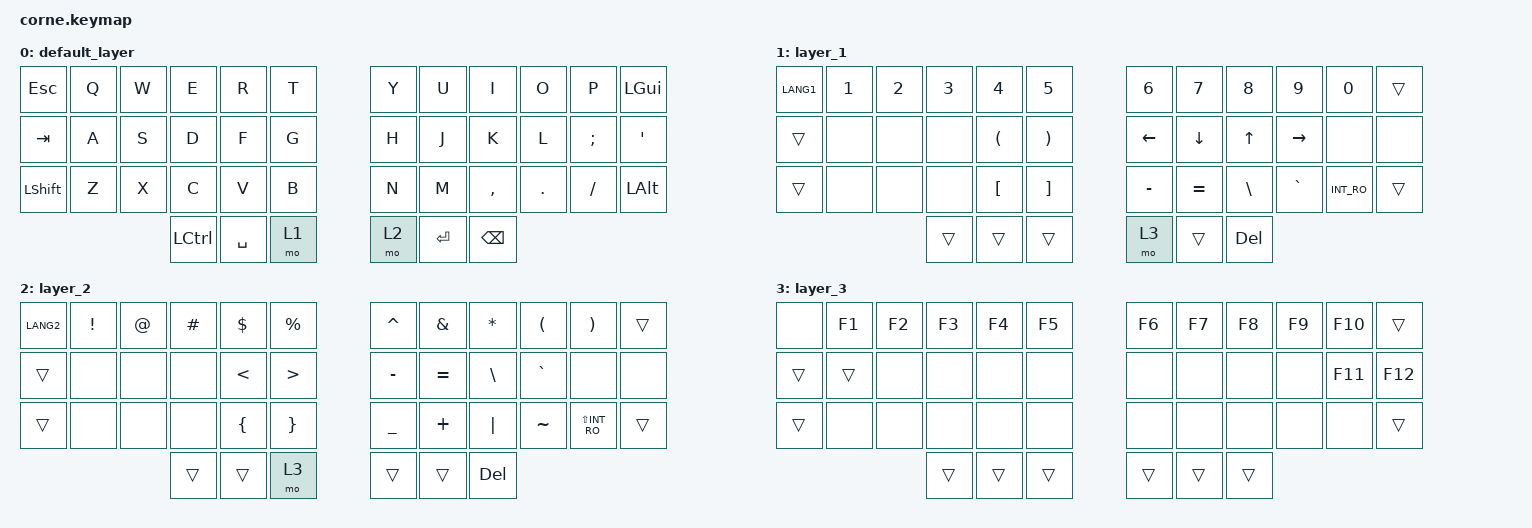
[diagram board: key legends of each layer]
/*
 * Copyright (c) 2020 The ZMK Contributors
 *
 * SPDX-License-Identifier: MIT
 */

#include <behaviors.dtsi>
#include <dt-bindings/zmk/keys.h>
#include <dt-bindings/zmk/bt.h>

/ {
        keymap {
                compatible = "zmk,keymap";

                default_layer {
                        bindings = <
//,-----------------------------------------------------.                    ,-----------------------------------------------------.
    &kp ESC  &kp Q    &kp W    &kp E    &kp R    &kp T                          &kp Y   &kp U    &kp I    &kp O    &kp P   &kp LGUI
//|--------+--------+--------+--------+--------+--------|                    |--------+--------+--------+--------+--------+--------|
    &kp TAB  &kp A    &kp S    &kp D    &kp F    &kp G                          &kp H   &kp J    &kp K    &kp L   &kp SEMI &kp SQT
//|--------+--------+--------+--------+--------+--------|                    |--------+--------+--------+--------+--------+--------|
   &kp LSHFT &kp Z    &kp X    &kp C    &kp V    &kp B                          &kp N   &kp M  &kp COMMA &kp DOT &kp SLASH &kp LALT
//|-----------------------------------+--------+--------+--------|  |--------+--------+--------+-----------------------------------|
                                      &kp LCTRL &kp SPACE &mo 1        &mo 2   &kp RET  &kp BSPC
                        >;
                };
                layer_1 {
                        bindings = <
//,-----------------------------------------------------.                    ,-----------------------------------------------------.
  &kp LANG1 &kp N1  &kp N2    &kp N3  &kp N4   &kp N5                          &kp N6   &kp N7   &kp N8   &kp N9   &kp N0   &trans
//|--------+--------+--------+--------+--------+--------|                    |--------+--------+--------+--------+--------+--------|
   &trans    &none    &none    &none   &kp LPAR &kp RPAR                      &kp LEFT &kp DOWN &kp UP   &kp RIGHT  &none    &none
//|--------+--------+--------+--------+--------+--------|                    |--------+--------+--------+--------+--------+--------|   
   &trans    &none    &none     &none  &kp LBKT &kp RBKT                     &kp MINUS &kp EQUAL &kp BSLH &kp GRAVE &kp INT_RO &trans
//|-----------------------------------+--------+--------+--------|  |--------+--------+--------+-----------------------------------|
                                        &trans   &trans   &trans      &mo 3   &trans   &kp DEL
                        >;
                };

                layer_2 {
                        bindings = <
//,-----------------------------------------------------.                    ,-----------------------------------------------------.
  &kp LANG2 &kp EXCL  &kp AT  &kp HASH &kp DLLR &kp PRCNT                    &kp CARET &kp AMPS &kp ASTRK &kp LPAR &kp RPAR &trans
//|--------+--------+--------+--------+--------+--------|                    |--------+--------+--------+--------+--------+--------| 
   &trans    &none    &none    &none   &kp LT  &kp GT                        &kp MINUS &kp EQUAL &kp BSLH &kp GRAVE &none   &none
//|--------+--------+--------+--------+--------+--------|                    |--------+--------+--------+--------+--------+--------| 
   &trans    &none    &none    &none   &kp LBRC  &kp RBRC                   &kp UNDER &kp PLUS  &kp PIPE  &kp TILDE &kp LS(INT_RO) &trans
//|-----------------------------------+--------+--------+--------|  |--------+--------+--------+-----------------------------------|
                                        &trans   &trans   &mo 3      &trans   &trans   &kp DEL
                        >;
                };


                layer_3 {
                        bindings = <
//,-----------------------------------------------------.                    ,-----------------------------------------------------.
    &none    &kp F1   &kp F2   &kp F3   &kp F4  &kp F5                          &kp F6  &kp F7   &kp F8   &kp F9  &kp F10   &trans
//|--------+--------+--------+--------+--------+--------|                    |--------+--------+--------+--------+--------+--------| 
    &trans   &trans   &none    &none    &none    &none                          &none   &none    &none    &none   &kp F11   &kp F12
//|--------+--------+--------+--------+--------+--------|                    |--------+--------+--------+--------+--------+--------| 
    &trans   &none    &none    &none    &none    &none                          &none   &none    &none    &none    &none   &trans
//|-----------------------------------+--------+--------+--------|  |--------+--------+--------+-----------------------------------|
                                        &trans   &trans   &trans      &trans   &trans   &trans
                        >;
                };
        };
};
